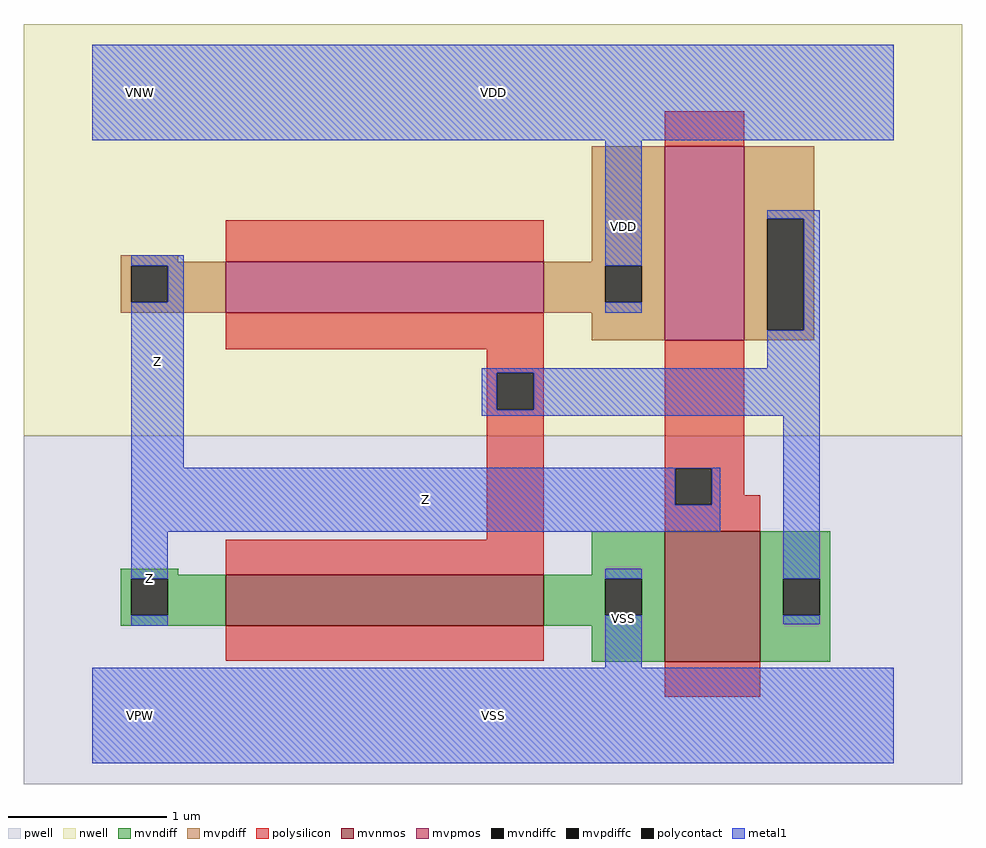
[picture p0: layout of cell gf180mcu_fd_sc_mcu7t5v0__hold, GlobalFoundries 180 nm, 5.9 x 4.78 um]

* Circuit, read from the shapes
.subckt gf180mcu_fd_sc_mcu7t5v0__hold Z VDD VNW VPW VSS
XM1 VSS n1 Z VPW nfet_06v0 w=0.32u l=2u
XM2 n1 Z VSS VPW nfet_06v0 w=0.82u l=0.6u
XM3 VDD n1 Z VNW pfet_06v0 w=0.32u l=2u
XM4 n1 Z VDD VNW pfet_06v0 w=1.22u l=0.5u
.ends

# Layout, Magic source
magic
tech gf180mcuD
magscale 1 10
<< nwell >>
rect -86 352 1094 870
<< pwell >>
rect -86 -86 1094 352
<< mvnmos >>
rect 168 113 568 177
rect 720 68 840 232
<< mvpmos >>
rect 168 507 568 571
rect 720 472 820 716
<< mvndiff >>
rect 36 177 108 185
rect 628 177 720 232
rect 36 172 168 177
rect 36 126 49 172
rect 95 126 168 172
rect 36 113 168 126
rect 568 172 720 177
rect 568 126 645 172
rect 691 126 720 172
rect 568 113 720 126
rect 628 68 720 113
rect 840 172 928 232
rect 840 126 869 172
rect 915 126 928 172
rect 840 68 928 126
<< mvpdiff >>
rect 36 571 108 579
rect 628 571 720 716
rect 36 566 168 571
rect 36 520 49 566
rect 95 520 168 566
rect 36 507 168 520
rect 568 566 720 571
rect 568 520 645 566
rect 691 520 720 566
rect 568 507 720 520
rect 628 472 720 507
rect 820 625 908 716
rect 820 485 849 625
rect 895 485 908 625
rect 820 472 908 485
<< mvndiffc >>
rect 49 126 95 172
rect 645 126 691 172
rect 869 126 915 172
<< mvpdiffc >>
rect 49 520 95 566
rect 645 520 691 566
rect 849 485 895 625
<< polysilicon >>
rect 720 716 820 760
rect 168 571 568 623
rect 168 461 568 507
rect 496 431 568 461
rect 496 385 509 431
rect 555 385 568 431
rect 496 221 568 385
rect 720 311 820 472
rect 720 265 733 311
rect 779 277 820 311
rect 779 265 840 277
rect 720 232 840 265
rect 168 177 568 221
rect 168 69 568 113
rect 720 24 840 68
<< polycontact >>
rect 509 385 555 431
rect 733 265 779 311
<< metal1 >>
rect 0 724 1008 844
rect 49 566 115 579
rect 95 520 115 566
rect 49 312 115 520
rect 645 566 691 724
rect 645 507 691 520
rect 849 625 915 636
rect 895 485 915 625
rect 849 437 915 485
rect 490 431 915 437
rect 490 385 509 431
rect 555 385 915 431
rect 490 377 915 385
rect 49 311 790 312
rect 49 265 733 311
rect 779 265 790 311
rect 49 231 790 265
rect 49 172 95 231
rect 49 113 95 126
rect 645 172 691 185
rect 645 60 691 126
rect 869 172 915 377
rect 869 115 915 126
rect 0 -60 1008 60
<< labels >>
flabel metal1 s 49 312 115 579 0 FreeSans 400 0 0 0 Z
port 1 nsew default bidirectional
flabel metal1 s 0 724 1008 844 0 FreeSans 400 0 0 0 VDD
port 2 nsew power bidirectional abutment
flabel metal1 s 645 60 691 185 0 FreeSans 400 0 0 0 VSS
port 5 nsew ground bidirectional abutment
flabel nwell s 10 734 110 834 0 FreeSans 400 0 0 0 VNW
port 3 nsew power bidirectional
flabel pwell s 10 -50 110 50 0 FreeSans 400 0 0 0 VPW
port 4 nsew ground bidirectional
rlabel metal1 s 49 231 790 312 1 Z
port 1 nsew default bidirectional
rlabel metal1 s 49 113 95 231 1 Z
port 1 nsew default bidirectional
rlabel metal1 s 645 507 691 724 1 VDD
port 2 nsew power bidirectional abutment
rlabel metal1 s 0 -60 1008 60 1 VSS
port 5 nsew ground bidirectional abutment
<< properties >>
string FIXED_BBOX 0 0 1008 784
string GDS_END 426286
string GDS_FILE $PDKPATH/libs.ref/gf180mcu_fd_sc_mcu7t5v0/gds/gf180mcu_fd_sc_mcu7t5v0.gds
string GDS_START 423832
string LEFclass core
string LEFsite GF018hv5v_mcu_sc7
string LEFsymmetry X Y
<< end >>
